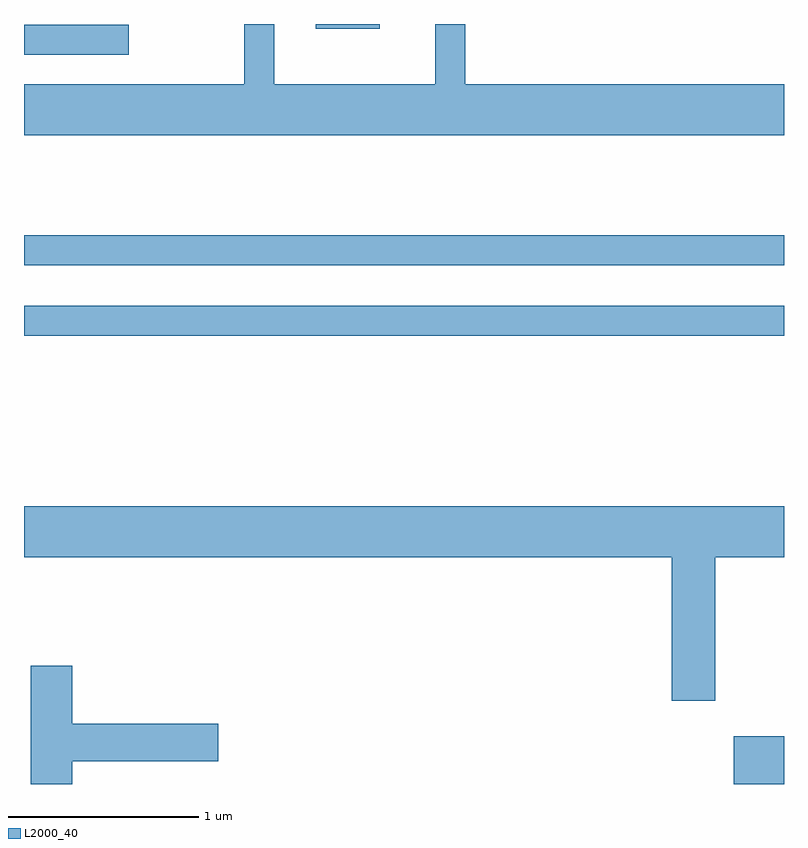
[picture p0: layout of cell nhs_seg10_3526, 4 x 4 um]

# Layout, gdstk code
import gdstk
lib = gdstk.Library(unit=1e-6, precision=1e-09)
def R(c, l, rs):  # rectangles x0, y0, x1, y1
    for r in rs: c.add(gdstk.rectangle(r[:2], r[2:], *l))
def P(c, l, *ps):  # polygons
    for p in ps: c.add(gdstk.Polygon(p, *l))
L2000_40 = (2000, 40)

nhs_seg10_3526 = lib.new_cell('nhs_seg10_3526')
R(nhs_seg10_3526, L2000_40, [(293.346,2090.522,293.611,2090.774), (289.611,2092.881,293.611,2093.039), (289.611,2093.251,293.611,2093.409), (289.611,2094.361,290.163,2094.519), (291.146,2094.496,291.484,2094.522)])
P(nhs_seg10_3526, L2000_40, [(293.611,2094.204),(291.934,2094.204),(291.934,2094.522),(291.776,2094.522),(291.776,2094.204),(290.929,2094.204),(290.929,2094.522),(290.771,2094.522),(290.771,2094.204),(289.611,2094.204),(289.611,2093.936),(293.611,2093.936)],
  [(293.249,2091.716),(293.611,2091.716),(293.611,2091.984),(289.611,2091.984),(289.611,2091.716),(293.021,2091.716),(293.021,2090.961),(293.249,2090.961)],
  [(289.864,2090.641),(290.634,2090.641),(290.634,2090.839),(289.864,2090.839),(289.864,2091.144),(289.646,2091.144),(289.646,2090.522),(289.864,2090.522)])

lib.write_gds('nhs_seg10_3526.gds')
